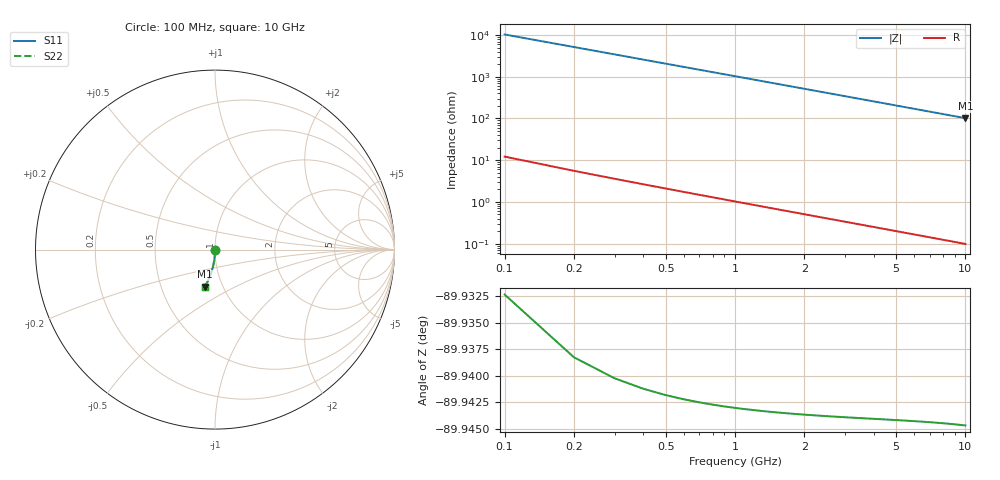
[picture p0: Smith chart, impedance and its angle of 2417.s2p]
# Hz S RI R 50.00
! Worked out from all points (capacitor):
!   100 points, 100 MHz to 10 GHz, reference 50 ohm
!   read as one part in shunt: C = 154 fF near 100 MHz
!   lowest |Z| = 102 ohm at 10 GHz (marker M1)
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1e8  5.07e-05 -0.00216  0.9999 -0.00268  0.9999 -0.00268  5.07e-05 -0.00216
2e8  3.13e-05 -0.00433  0.9999 -0.00536  0.9999 -0.00536  3.13e-05 -0.00433
3e8  2.06e-07 -0.00649  0.9999 -0.00804  0.9999 -0.00804  2.06e-07 -0.00649
4e8  -4.25e-05 -0.00866  0.9998 -0.0107  0.9998 -0.0107  -4.25e-05 -0.00866
5e8  -9.69e-05 -0.0108  0.9998 -0.0134  0.9998 -0.0134  -9.69e-05 -0.0108
6e8  -0.000163 -0.013  0.9997 -0.0161  0.9997 -0.0161  -0.000163 -0.013
7e8  -0.000241 -0.0152  0.9996 -0.0188  0.9996 -0.0188  -0.000241 -0.0152
8e8  -0.00033 -0.0173  0.9995 -0.0214  0.9995 -0.0214  -0.00033 -0.0173
9e8  -0.000431 -0.0195  0.9994 -0.0241  0.9994 -0.0241  -0.000431 -0.0195
1.1e9  -0.000668 -0.0238  0.9992 -0.0295  0.9992 -0.0295  -0.000668 -0.0238
1.4e9  -0.00111 -0.0303  0.9987 -0.0375  0.9987 -0.0375  -0.00111 -0.0303
1.8e9  -0.00187 -0.039  0.998 -0.0483  0.998 -0.0483  -0.00187 -0.039
2.1e9  -0.00255 -0.0455  0.9973 -0.0563  0.9973 -0.0563  -0.00255 -0.0455
2.5e9  -0.00364 -0.0541  0.9962 -0.067  0.9962 -0.067  -0.00364 -0.0541
2.9e9  -0.0049 -0.0627  0.9949 -0.0777  0.9949 -0.0777  -0.0049 -0.0627
3.4e9  -0.00675 -0.0734  0.993 -0.0911  0.993 -0.0911  -0.00675 -0.0734
4.2e9  -0.0103 -0.0905  0.9893 -0.1123  0.9893 -0.1123  -0.0103 -0.0905
5.1e9  -0.0152 -0.1095  0.9843 -0.136  0.9843 -0.136  -0.0152 -0.1095
5.9e9  -0.0203 -0.1262  0.9791 -0.1569  0.9791 -0.1569  -0.0203 -0.1262
6.7e9  -0.0261 -0.1426  0.9732 -0.1776  0.9732 -0.1776  -0.0261 -0.1426
8.4e9  -0.0407 -0.1763  0.9582 -0.2204  0.9582 -0.2204  -0.0407 -0.1763
1e10  -0.057 -0.2064  0.9415 -0.2592  0.9415 -0.2592  -0.057 -0.2064
